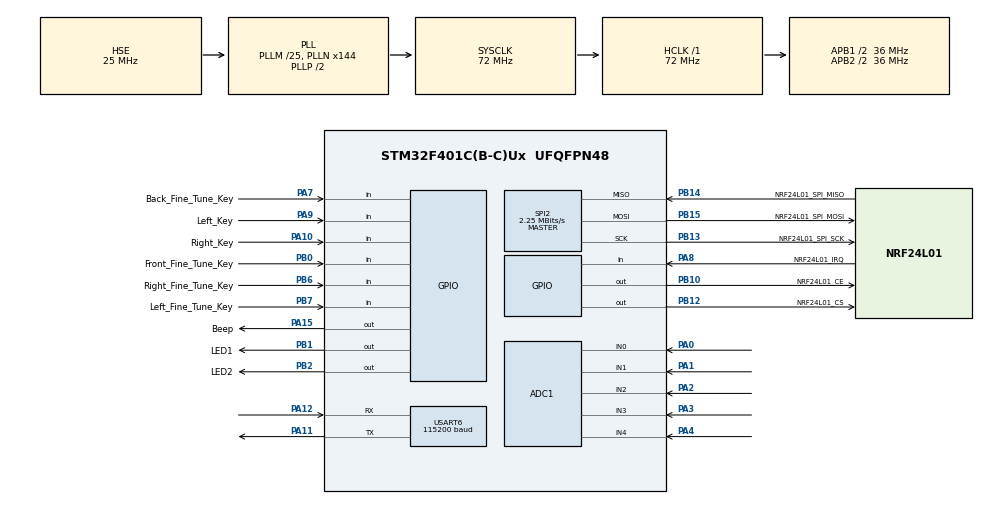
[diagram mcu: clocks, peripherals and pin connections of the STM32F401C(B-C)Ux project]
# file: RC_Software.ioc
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ADC1.Channel-0\#ChannelRegularConversion=ADC_CHANNEL_0
ADC1.Channel-1\#ChannelRegularConversion=ADC_CHANNEL_1
ADC1.Channel-2\#ChannelRegularConversion=ADC_CHANNEL_2
ADC1.Channel-3\#ChannelRegularConversion=ADC_CHANNEL_3
ADC1.ClockPrescaler=ADC_CLOCK_SYNC_PCLK_DIV8
ADC1.ContinuousConvMode=ENABLE
ADC1.DMAContinuousRequests=ENABLE
ADC1.EOCSelection=ADC_EOC_SEQ_CONV
ADC1.NbrOfConversion=4
ADC1.NbrOfConversionFlag=1
ADC1.Rank-0\#ChannelRegularConversion=1
ADC1.Rank-1\#ChannelRegularConversion=2
ADC1.Rank-2\#ChannelRegularConversion=3
ADC1.Rank-3\#ChannelRegularConversion=4
ADC1.SamplingTime-0\#ChannelRegularConversion=ADC_SAMPLETIME_15CYCLES
ADC1.SamplingTime-1\#ChannelRegularConversion=ADC_SAMPLETIME_15CYCLES
ADC1.SamplingTime-2\#ChannelRegularConversion=ADC_SAMPLETIME_15CYCLES
ADC1.SamplingTime-3\#ChannelRegularConversion=ADC_SAMPLETIME_15CYCLES
ADC1.master=1
Dma.ADC1.0.Direction=DMA_PERIPH_TO_MEMORY
Dma.ADC1.0.FIFOMode=DMA_FIFOMODE_DISABLE
Dma.ADC1.0.Instance=DMA2_Stream0
Dma.ADC1.0.MemDataAlignment=DMA_MDATAALIGN_HALFWORD
Dma.ADC1.0.MemInc=DMA_MINC_ENABLE
Dma.ADC1.0.Mode=DMA_CIRCULAR
Dma.ADC1.0.PeriphDataAlignment=DMA_PDATAALIGN_HALFWORD
Dma.ADC1.0.PeriphInc=DMA_PINC_DISABLE
Dma.ADC1.0.Priority=DMA_PRIORITY_LOW
Dma.Request0=ADC1
Mcu.Family=STM32F4
Mcu.Name=STM32F401C(B-C)Ux
Mcu.Package=UFQFPN48
NVIC.DMA2_Stream0_IRQn=true\:0\:0\:false\:false\:true\:false\:true
NVIC.PriorityGroup=NVIC_PRIORITYGROUP_4
NVIC.TIM2_IRQn=true\:4\:0\:true\:false\:true\:true\:true
PA0-WKUP.Signal=ADCx_IN0
PA1.Signal=ADCx_IN1
PA10.GPIO_Label=Right_Key
PA10.Signal=GPIO_Input
PA11.Mode=Asynchronous
PA11.Signal=USART6_TX
PA12.Mode=Asynchronous
PA12.Signal=USART6_RX
PA13.Mode=Serial_Wire
PA13.Signal=SYS_JTMS-SWDIO
PA14.Mode=Serial_Wire
PA14.Signal=SYS_JTCK-SWCLK
PA15.GPIO_Label=Beep
PA15.Signal=GPIO_Output
PA2.Signal=ADCx_IN2
PA3.Signal=ADCx_IN3
PA4.Signal=ADCx_IN4
PA7.GPIO_Label=Back_Fine_Tune_Key
PA7.Signal=GPIO_Input
PA8.GPIO_Label=NRF24L01_IRQ
PA8.Signal=GPIO_Input
PA9.GPIO_Label=Left_Key
PA9.Signal=GPIO_Input
PB0.GPIO_Label=Front_Fine_Tune_Key
PB0.Signal=GPIO_Input
PB1.GPIO_Label=LED1
PB1.Signal=GPIO_Output
PB10.GPIO_Label=NRF24L01_CE
PB10.Signal=GPIO_Output
PB12.GPIO_Label=NRF24L01_CS
PB12.Signal=GPIO_Output
PB13.GPIO_Label=NRF24L01_SPI_SCK
PB13.Mode=Full_Duplex_Master
PB13.Signal=SPI2_SCK
PB14.GPIO_Label=NRF24L01_SPI_MISO
PB14.Mode=Full_Duplex_Master
PB14.Signal=SPI2_MISO
PB15.GPIO_Label=NRF24L01_SPI_MOSI
PB15.Mode=Full_Duplex_Master
PB15.Signal=SPI2_MOSI
PB2.GPIO_Label=LED2
PB2.Signal=GPIO_Output
PB6.GPIO_Label=Right_Fine_Tune_Key
PB6.Signal=GPIO_Input
PB7.GPIO_Label=Left_Fine_Tune_Key
PB7.Signal=GPIO_Input
PH0\ -\ OSC_IN.Mode=HSE-External-Oscillator
PH0\ -\ OSC_IN.Signal=RCC_OSC_IN
PH1\ -\ OSC_OUT.Mode=HSE-External-Oscillator
PH1\ -\ OSC_OUT.Signal=RCC_OSC_OUT
ProjectManager.HeapSize=0x200
ProjectManager.StackSize=0x400
ProjectManager.TargetToolchain=Makefile
RCC.48MHZClocksFreq_Value=36000000
RCC.AHBFreq_Value=72000000
RCC.APB1CLKDivider=RCC_HCLK_DIV2
RCC.APB1Freq_Value=36000000
RCC.APB1TimFreq_Value=72000000
RCC.APB2CLKDivider=RCC_HCLK_DIV2
RCC.APB2Freq_Value=36000000
RCC.APB2TimFreq_Value=72000000
RCC.CortexFreq_Value=72000000
RCC.HCLKFreq_Value=72000000
RCC.HSE_VALUE=25000000
RCC.HSI_VALUE=16000000
RCC.LSE_VALUE=32768
RCC.PLLM=25
RCC.PLLN=144
RCC.PLLSourceVirtual=RCC_PLLSOURCE_HSE
RCC.SYSCLKFreq_VALUE=72000000
RCC.SYSCLKSource=RCC_SYSCLKSOURCE_PLLCLK
RCC.VCOOutputFreq_Value=144000000
SH.ADCx_IN0.0=ADC1_IN0,IN0
SH.ADCx_IN1.0=ADC1_IN1,IN1
SH.ADCx_IN2.0=ADC1_IN2,IN2
SH.ADCx_IN3.0=ADC1_IN3,IN3
SH.ADCx_IN4.0=ADC1_IN4,IN4
SPI2.BaudRatePrescaler=SPI_BAUDRATEPRESCALER_16
SPI2.CalculateBaudRate=2.25 MBits/s
SPI2.Direction=SPI_DIRECTION_2LINES
SPI2.Mode=SPI_MODE_MASTER
SPI2.VirtualType=VM_MASTER
TIM2.Period=1000-1
TIM2.Prescaler=72-1
USART6.BaudRate=115200
USART6.VirtualMode=VM_ASYNC
VP_TIM2_VS_ClockSourceINT.Mode=Internal
board=custom

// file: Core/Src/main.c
/* USER CODE BEGIN Header */
/**
  ******************************************************************************
  * @file           : main.c
  * @brief          : Main program body
  ******************************************************************************
  * @attention
  *
  * <h2><center>&copy; Copyright (c) 2021 STMicroelectronics.
  * All rights reserved.</center></h2>
  *
  * This software component is licensed by ST under BSD 3-Clause license,
  * the "License"; You may not use this file except in compliance with the
  * License. You may obtain a copy of the License at:
  *                        opensource.org/licenses/BSD-3-Clause
  *
  ******************************************************************************
  */
/* USER CODE END Header */
#include "main.h"
#include "adc.h"
#include "dma.h"
#include "spi.h"
#include "tim.h"
#include "usart.h"
#include "gpio.h"

/* USER CODE BEGIN Includes */
#include <stdio.h>
#include <string.h>

#include "led_functions.h"
#include "key_functions.h"
#include "beep_functions.h"
#include "rocker_functions.h"
#include "log.h"
#include "NRF24L01.h"
#include "task.h"

/* USER CODE END Includes */

/* USER CODE BEGIN PV */

uint8_t task_counter = 0;
uint8_t task_100hz_flag = 0;

__Key_Data key_data;
__Rocker_Data rocker_data;
__Start__Flag start_flag;

volatile uint16_t adc_result[5];
int16_t offset_data[8] = {0,0,0,0};
uint16_t key_pin[6] = {Front_Fine_Tune_Key_Pin,Back_Fine_Tune_Key_Pin,
                       Left_Fine_Tune_Key_Pin,Right_Fine_Tune_Key_Pin,
                       Left_Key_Pin,Right_Key_Pin};

/* USER CODE END PV */

void SystemClock_Config(void);

int main(void)
{

  /* MCU Configuration--------------------------------------------------------*/

  /* Reset of all peripherals, Initializes the Flash interface and the Systick. */
  HAL_Init();

  /* Configure the system clock */
  SystemClock_Config();

  /* Initialize all configured peripherals */
  MX_GPIO_Init();
  MX_DMA_Init();
  MX_ADC1_Init();
  MX_TIM2_Init();
  MX_SPI2_Init();
  MX_USART6_UART_Init();
  /* USER CODE BEGIN 2 */
  POWER_ON_BEEP;

  HAL_TIM_Base_Start_IT(&htim2);
	HAL_TIM_Base_Start(&htim2);

  HAL_ADC_Start_DMA(&hadc1,(uint32_t*)adc_result,8);

  LED_Red_OFF;
  LED_Green_OFF;

  /* USER CODE END 2 */

  /* Infinite loop */
  while (1)
  {

    /* USER CODE BEGIN 3 */

    if(task_100hz_flag && start_flag.unlock_finish_flag)
    {
      Task_100Hz(rocker_data,key_data);
      task_100hz_flag = 0;
    }
  }
  /* USER CODE END 3 */
}

void SystemClock_Config(void)
{
  RCC_OscInitTypeDef RCC_OscInitStruct = {0};
  RCC_ClkInitTypeDef RCC_ClkInitStruct = {0};

  /** Configure the main internal regulator output voltage
  */
  __HAL_RCC_PWR_CLK_ENABLE();
  __HAL_PWR_VOLTAGESCALING_CONFIG(PWR_REGULATOR_VOLTAGE_SCALE2);
  /** Initializes the RCC Oscillators according to the specified parameters
  * in the RCC_OscInitTypeDef structure.
  */
  RCC_OscInitStruct.OscillatorType = RCC_OSCILLATORTYPE_HSE;
  RCC_OscInitStruct.HSEState = RCC_HSE_ON;
  RCC_OscInitStruct.PLL.PLLState = RCC_PLL_ON;
  RCC_OscInitStruct.PLL.PLLSource = RCC_PLLSOURCE_HSE;
  RCC_OscInitStruct.PLL.PLLM = 25;
  RCC_OscInitStruct.PLL.PLLN = 144;
  RCC_OscInitStruct.PLL.PLLP = RCC_PLLP_DIV2;
  RCC_OscInitStruct.PLL.PLLQ = 4;
  if (HAL_RCC_OscConfig(&RCC_OscInitStruct) != HAL_OK)
  {
    Error_Handler();
  }
  /** Initializes the CPU, AHB and APB buses clocks
  */
  RCC_ClkInitStruct.ClockType = RCC_CLOCKTYPE_HCLK|RCC_CLOCKTYPE_SYSCLK
                              |RCC_CLOCKTYPE_PCLK1|RCC_CLOCKTYPE_PCLK2;
  RCC_ClkInitStruct.SYSCLKSource = RCC_SYSCLKSOURCE_PLLCLK;
  RCC_ClkInitStruct.AHBCLKDivider = RCC_SYSCLK_DIV1;
  RCC_ClkInitStruct.APB1CLKDivider = RCC_HCLK_DIV2;
  RCC_ClkInitStruct.APB2CLKDivider = RCC_HCLK_DIV2;

  if (HAL_RCC_ClockConfig(&RCC_ClkInitStruct, FLASH_LATENCY_2) != HAL_OK)
  {
    Error_Handler();
  }
}

/* USER CODE BEGIN 4 */
void HAL_TIM_PeriodElapsedCallback(TIM_HandleTypeDef *htm)
{
  HAL_TIM_IRQHandler(&htim2);

  //if(!(task_500hz_flag || task_100hz_flag || task_25hz_flag))
    task_counter++;

  if(task_counter%2 == 0)
  {
    Task_500Hz(&rocker_data,adc_result,&key_data,key_pin,&start_flag,offset_data);
  }

  if(task_counter%10 == 0) task_100hz_flag = 1;
  else task_100hz_flag = 0;

  if(task_counter%40 == 0)
  {
    task_counter = 0;
    Task_25Hz(key_data,rocker_data);
  }

}
/* USER CODE END 4 */

void Error_Handler(void)
{
  __disable_irq();
  while (1)
  {
  }
}

/************************ (C) COPYRIGHT STMicroelectronics *****END OF FILE****/
